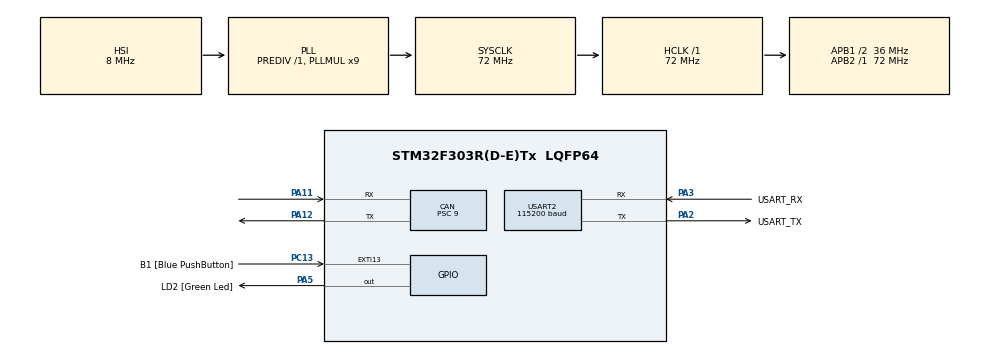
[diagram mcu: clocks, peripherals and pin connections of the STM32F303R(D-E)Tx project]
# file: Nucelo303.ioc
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CAN.BS1=CAN_BS1_13TQ
CAN.BS2=CAN_BS2_2TQ
CAN.CalculateTimeQuantum=250.0
CAN.NART=ENABLE
CAN.Prescaler=9
Mcu.Family=STM32F3
Mcu.Name=STM32F303R(D-E)Tx
Mcu.Package=LQFP64
NVIC.PriorityGroup=NVIC_PRIORITYGROUP_0
PA11.Mode=Master
PA11.Signal=CAN_RX
PA12.Mode=Master
PA12.Signal=CAN_TX
PA13.GPIO_Label=TMS
PA13.Mode=Serial_Wire
PA13.Signal=SYS_JTMS-SWDIO
PA14.GPIO_Label=TCK
PA14.Mode=Serial_Wire
PA14.Signal=SYS_JTCK-SWCLK
PA2.GPIO_Label=USART_TX
PA2.GPIO_Mode=GPIO_MODE_AF_PP
PA2.GPIO_PuPd=GPIO_NOPULL
PA2.GPIO_Speed=GPIO_SPEED_FREQ_LOW
PA2.Mode=Asynchronous
PA2.Signal=USART2_TX
PA3.GPIO_Label=USART_RX
PA3.GPIO_Mode=GPIO_MODE_AF_PP
PA3.GPIO_PuPd=GPIO_NOPULL
PA3.GPIO_Speed=GPIO_SPEED_FREQ_LOW
PA3.Mode=Asynchronous
PA3.Signal=USART2_RX
PA5.GPIO_Label=LD2 [Green Led]
PA5.GPIO_Mode=GPIO_MODE_OUTPUT_PP
PA5.GPIO_PuPd=GPIO_NOPULL
PA5.GPIO_Speed=GPIO_SPEED_FREQ_LOW
PA5.Signal=GPIO_Output
PB3.GPIO_Label=SWO
PB3.Signal=SYS_JTDO-TRACESWO
PC13.GPIO_Label=B1 [Blue PushButton]
PC13.GPIO_ModeDefaultEXTI=GPIO_MODE_IT_FALLING
PC13.Signal=GPXTI13
PC14-OSC32_IN.Mode=LSE-External-Oscillator
PC14-OSC32_IN.Signal=RCC_OSC32_IN
PC15-OSC32_OUT.Mode=LSE-External-Oscillator
PC15-OSC32_OUT.Signal=RCC_OSC32_OUT
PF0-OSC_IN.Mode=HSE-External-Clock-Source
PF0-OSC_IN.Signal=RCC_OSC_IN
PF1-OSC_OUT.Signal=RCC_OSC_OUT
ProjectManager.HeapSize=0x200
ProjectManager.StackSize=0x400
ProjectManager.TargetToolchain=STM32CubeIDE
RCC.AHBFreq_Value=72000000
RCC.APB1CLKDivider=RCC_HCLK_DIV2
RCC.APB1Freq_Value=36000000
RCC.APB1TimFreq_Value=72000000
RCC.APB2Freq_Value=72000000
RCC.APB2TimFreq_Value=72000000
RCC.CortexFreq_Value=72000000
RCC.HCLKFreq_Value=72000000
RCC.HSE_VALUE=8000000
RCC.HSI_VALUE=8000000
RCC.PLLM=8
RCC.PLLMUL=RCC_PLL_MUL9
RCC.PLLN=336
RCC.PLLP=RCC_PLLP_DIV4
RCC.PLLQ=7
RCC.RCC_PLLsource_Clock_Source_FROM_HSE=RCC_HSE_PREDIV_DIV2
RCC.SYSCLKFreq_VALUE=72000000
RCC.SYSCLKSourceVirtual=RCC_SYSCLKSOURCE_PLLCLK
RCC.USBFreq_Value=72000000
USART2.BaudRate=115200
USART2.VirtualMode-Asynchronous=VM_ASYNC
VP_CRC_VS_CRC.Mode=CRC_Activate
board=NUCLEO-F303RE

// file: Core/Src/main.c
/* USER CODE BEGIN Header */
/**
  ******************************************************************************
  * @file           : main.c
  * @brief          : Main program body
  ******************************************************************************
  * @attention
  *
  * <h2><center>&copy; Copyright (c) 2020 STMicroelectronics.
  * All rights reserved.</center></h2>
  *
  * This software component is licensed by ST under BSD 3-Clause license,
  * the "License"; You may not use this file except in compliance with the
  * License. You may obtain a copy of the License at:
  *                        opensource.org/licenses/BSD-3-Clause
  *
  ******************************************************************************
  */

/* USER CODE END Header */

#include "main.h"

/* USER CODE BEGIN Includes */
#include "ymodem.h"
#include <stdarg.h>
#include <string.h>
#include <stdint.h>
/* USER CODE END Includes */

CAN_HandleTypeDef hcan;

CRC_HandleTypeDef hcrc;

UART_HandleTypeDef huart2;

void SystemClock_Config(void);
static void MX_GPIO_Init(void);
static void MX_CRC_Init(void);
static void MX_USART2_UART_Init(void);
static void MX_CAN_Init(void);
/* USER CODE BEGIN PFP */
#define size 200
#define Rxsize 13000
#define BL_ACK   0XA5
#define BL_NACK  0X7F

uint8_t buffer[size];
uint8_t Rx_buffer[Rxsize];

CAN_FilterTypeDef sFilterConfig;
CAN_TxHeaderTypeDef pTxHeader;
CAN_RxHeaderTypeDef pRxHeader;
uint32_t TxMailBox;

uint8_t Txbuffer[8];
uint8_t Rxbuffer[8];
uint8_t aFileName[FILE_NAME_LENGTH] = "hser_app";
//aFileName = "user";
/* USER CODE END PFP */

int main(void)
{

  /* MCU Configuration--------------------------------------------------------*/

  /* Reset of all peripherals, Initializes the Flash interface and the Systick. */
  HAL_Init();

  /* Configure the system clock */
  SystemClock_Config();

  /* Initialize all configured peripherals */
  MX_GPIO_Init();
  MX_CRC_Init();
  MX_USART2_UART_Init();
  MX_CAN_Init();
  /* USER CODE BEGIN 2 */
  pTxHeader.DLC = 8;
  pTxHeader.IDE = CAN_ID_EXT;
  pTxHeader.RTR = CAN_RTR_DATA;
  pTxHeader.StdId = 0xFE;
  pTxHeader.ExtId = 0x01;
  pTxHeader.TransmitGlobalTime = DISABLE;
  Txbuffer[0] = 1;
  Txbuffer[1] = 0x51;

  /* USER CODE END 2 */

  /* Infinite loop */
  /* USER CODE BEGIN WHILE */

  memset(Rx_buffer, 0, Rxsize);
  while (1)
  {
    /* USER CODE END WHILE */

    /* USER CODE BEGIN 3 */

	bootloader_uart_read_data();

  }
  /* USER CODE END 3 */
}

void SystemClock_Config(void)
{
  RCC_OscInitTypeDef RCC_OscInitStruct = {0};
  RCC_ClkInitTypeDef RCC_ClkInitStruct = {0};
  RCC_PeriphCLKInitTypeDef PeriphClkInit = {0};

  /** Initializes the CPU, AHB and APB busses clocks
  */
  RCC_OscInitStruct.OscillatorType = RCC_OSCILLATORTYPE_HSI;
  RCC_OscInitStruct.HSIState = RCC_HSI_ON;
  RCC_OscInitStruct.HSICalibrationValue = RCC_HSICALIBRATION_DEFAULT;
  RCC_OscInitStruct.PLL.PLLState = RCC_PLL_ON;
  RCC_OscInitStruct.PLL.PLLSource = RCC_PLLSOURCE_HSI;
  RCC_OscInitStruct.PLL.PLLMUL = RCC_PLL_MUL9;
  RCC_OscInitStruct.PLL.PREDIV = RCC_PREDIV_DIV1;
  if (HAL_RCC_OscConfig(&RCC_OscInitStruct) != HAL_OK)
  {
    Error_Handler();
  }
  /** Initializes the CPU, AHB and APB busses clocks
  */
  RCC_ClkInitStruct.ClockType = RCC_CLOCKTYPE_HCLK|RCC_CLOCKTYPE_SYSCLK
                              |RCC_CLOCKTYPE_PCLK1|RCC_CLOCKTYPE_PCLK2;
  RCC_ClkInitStruct.SYSCLKSource = RCC_SYSCLKSOURCE_PLLCLK;
  RCC_ClkInitStruct.AHBCLKDivider = RCC_SYSCLK_DIV1;
  RCC_ClkInitStruct.APB1CLKDivider = RCC_HCLK_DIV2;
  RCC_ClkInitStruct.APB2CLKDivider = RCC_HCLK_DIV1;

  if (HAL_RCC_ClockConfig(&RCC_ClkInitStruct, FLASH_LATENCY_2) != HAL_OK)
  {
    Error_Handler();
  }
  PeriphClkInit.PeriphClockSelection = RCC_PERIPHCLK_USART2;
  PeriphClkInit.Usart2ClockSelection = RCC_USART2CLKSOURCE_PCLK1;
  if (HAL_RCCEx_PeriphCLKConfig(&PeriphClkInit) != HAL_OK)
  {
    Error_Handler();
  }
}

static void MX_CAN_Init(void)
{

  hcan.Instance = CAN;
  hcan.Init.Prescaler = 9;
  hcan.Init.Mode = CAN_MODE_NORMAL;
  hcan.Init.SyncJumpWidth = CAN_SJW_1TQ;
  hcan.Init.TimeSeg1 = CAN_BS1_13TQ;
  hcan.Init.TimeSeg2 = CAN_BS2_2TQ;
  hcan.Init.TimeTriggeredMode = DISABLE;
  hcan.Init.AutoBusOff = DISABLE;
  hcan.Init.AutoWakeUp = DISABLE;
  hcan.Init.AutoRetransmission = ENABLE;
  hcan.Init.ReceiveFifoLocked = DISABLE;
  hcan.Init.TransmitFifoPriority = DISABLE;
  if (HAL_CAN_Init(&hcan) != HAL_OK)
  {
    Error_Handler();
  }
  /* USER CODE BEGIN CAN_Init 2 */
    sFilterConfig.FilterBank = 0;
  	sFilterConfig.FilterMode = CAN_FILTERMODE_IDMASK;
  	sFilterConfig.FilterFIFOAssignment = CAN_FILTER_FIFO0;
  	sFilterConfig.FilterIdHigh = 0x0000;
  	sFilterConfig.FilterIdLow = 0x0000;
  	sFilterConfig.FilterMaskIdHigh = 0;
  	sFilterConfig.FilterMaskIdLow = 0;
  	sFilterConfig.FilterScale = CAN_FILTERSCALE_32BIT;
  	sFilterConfig.FilterActivation = ENABLE;
  	sFilterConfig.SlaveStartFilterBank = 14;

  	if(HAL_CAN_ConfigFilter(&hcan, &sFilterConfig) != HAL_OK)
  	{
  		Error_Handler();
  	}

  	if (HAL_CAN_Start(&hcan) != HAL_OK)
		Error_Handler();

	if (HAL_CAN_ActivateNotification(&hcan, CAN_IT_RX_FIFO0_MSG_PENDING  | CAN_IT_TX_MAILBOX_EMPTY) != HAL_OK)
  {
  		    /* Notification Error */
		Error_Handler();
  }
  /* USER CODE END CAN_Init 2 */

}

static void MX_CRC_Init(void)
{

  hcrc.Instance = CRC;
  hcrc.Init.DefaultPolynomialUse = DEFAULT_POLYNOMIAL_ENABLE;
  hcrc.Init.DefaultInitValueUse = DEFAULT_INIT_VALUE_ENABLE;
  hcrc.Init.InputDataInversionMode = CRC_INPUTDATA_INVERSION_NONE;
  hcrc.Init.OutputDataInversionMode = CRC_OUTPUTDATA_INVERSION_DISABLE;
  hcrc.InputDataFormat = CRC_INPUTDATA_FORMAT_BYTES;
  if (HAL_CRC_Init(&hcrc) != HAL_OK)
  {
    Error_Handler();
  }

}

static void MX_USART2_UART_Init(void)
{

  huart2.Instance = USART2;
  huart2.Init.BaudRate = 115200;
  huart2.Init.WordLength = UART_WORDLENGTH_8B;
  huart2.Init.StopBits = UART_STOPBITS_1;
  huart2.Init.Parity = UART_PARITY_NONE;
  huart2.Init.Mode = UART_MODE_TX_RX;
  huart2.Init.HwFlowCtl = UART_HWCONTROL_NONE;
  huart2.Init.OverSampling = UART_OVERSAMPLING_16;
  huart2.Init.OneBitSampling = UART_ONE_BIT_SAMPLE_DISABLE;
  huart2.AdvancedInit.AdvFeatureInit = UART_ADVFEATURE_NO_INIT;
  if (HAL_UART_Init(&huart2) != HAL_OK)
  {
    Error_Handler();
  }

}

static void MX_GPIO_Init(void)
{
  GPIO_InitTypeDef GPIO_InitStruct = {0};

  /* GPIO Ports Clock Enable */
  __HAL_RCC_GPIOC_CLK_ENABLE();
  __HAL_RCC_GPIOF_CLK_ENABLE();
  __HAL_RCC_GPIOA_CLK_ENABLE();
  __HAL_RCC_GPIOB_CLK_ENABLE();

  /*Configure GPIO pin Output Level */
  HAL_GPIO_WritePin(LD2_GPIO_Port, LD2_Pin, GPIO_PIN_RESET);

  /*Configure GPIO pin : B1_Pin */
  GPIO_InitStruct.Pin = B1_Pin;
  GPIO_InitStruct.Mode = GPIO_MODE_IT_FALLING;
  GPIO_InitStruct.Pull = GPIO_NOPULL;
  HAL_GPIO_Init(B1_GPIO_Port, &GPIO_InitStruct);

  /*Configure GPIO pin : LD2_Pin */
  GPIO_InitStruct.Pin = LD2_Pin;
  GPIO_InitStruct.Mode = GPIO_MODE_OUTPUT_PP;
  GPIO_InitStruct.Pull = GPIO_NOPULL;
  GPIO_InitStruct.Speed = GPIO_SPEED_FREQ_LOW;
  HAL_GPIO_Init(LD2_GPIO_Port, &GPIO_InitStruct);

}

/* USER CODE BEGIN 4 */
void bootloader_uart_read_data(void){
uint8_t rx_len = 0;
uint16_t temp = 0;
while (1){
	memset(buffer, 0 ,200);

	if (HAL_UART_Receive(&huart2, buffer, 1, 0x200) == HAL_OK)
		rx_len = buffer[0];
	if (HAL_UART_Receive(&huart2, buffer, rx_len, 0x200)== HAL_OK){
		memcpy(Rx_buffer + temp, buffer + 2, (rx_len - 6) * sizeof(uint8_t));
		temp += rx_len - 6;
	}
	switch (buffer[0]){
	case 0x50:
		handle_Get_Version(buffer, rx_len);
		break;
	case 0x51:
		handle_writing(buffer, rx_len);
		break;
	case 0x52:
		handle_start_download(buffer, rx_len);
	case 0x53:
		handle_exit_bootloader(buffer, rx_len);
	default:
		break;

	}

}
}
void handle_start_download(uint8_t *buffer, uint8_t rx_len){
	pTxHeader.ExtId = can_generate_header(0xFE,0x16,0x10,0x01);
	pTxHeader.IDE = CAN_ID_EXT;

	Txbuffer[1] = *(buffer + 1);
	Txbuffer[2] = *(buffer + 2);
	uint16_t NewFirmwareSize = *(Txbuffer+1);
	NewFirmwareSize <<= 8;
	NewFirmwareSize |= *(Txbuffer+2);

	pTxHeader.DLC= 2;
	HAL_CAN_AddTxMessage(&hcan, &pTxHeader, Txbuffer, &TxMailBox);
	pTxHeader.ExtId = can_generate_header(0xFE,0x16,0x10,2);
	pTxHeader.IDE = CAN_ID_EXT;
	pTxHeader.DLC= 1;

	HAL_CAN_AddTxMessage(&hcan, &pTxHeader, Txbuffer, &TxMailBox);
	COM_StatusTypeDef status;
	status = Ymodem_Transmit(&Rx_buffer[0], aFileName, NewFirmwareSize);

}
void handle_Get_Version(uint8_t *buffer, uint8_t rx_len){

	pTxHeader.ExtId = can_generate_header(0xFE,0x16,0x10,0x03);
	pTxHeader.IDE = CAN_ID_EXT;

	pTxHeader.DLC= sizeof(Txbuffer);
    HAL_CAN_AddTxMessage(&hcan, &pTxHeader, Txbuffer, &TxMailBox);

}
void handle_writing(uint8_t * buffer, uint8_t rx_len){
  uint8_t len = rx_len;

  uint32_t total_length = len ;

  uint32_t host_crc = *((uint32_t *) (buffer + total_length - 4));

  if (! bootloader_verify_crc(buffer, total_length - 4, host_crc, rx_len)){
	  bootloader_send_ack(buffer[1], 1);

  }
  else {
	  bootloader_send_nack();
  }
  }

void handle_exit_bootloader(uint8_t *buffer, uint8_t rx_len){

	pTxHeader.ExtId = can_generate_header(0xFE,0x16,0x10,0x06);
	pTxHeader.IDE = CAN_ID_EXT;

	pTxHeader.DLC= sizeof(Txbuffer);
    HAL_CAN_AddTxMessage(&hcan, &pTxHeader, Txbuffer, &TxMailBox);

}
void bootloader_send_ack(uint8_t command_code, uint8_t follow_len)
{
 //here we send 2 byte.. first byte is ack and the second byte is len value
uint8_t ack_buf[2];
ack_buf[0] = BL_ACK;
ack_buf[1] = follow_len;
HAL_UART_Transmit(&huart2, ack_buf, 2, 0x2);

}

/*This function sends NACK */
void bootloader_send_nack(void)
{
uint8_t nack = BL_NACK;
HAL_UART_Transmit(&huart2, &nack, 1, 0x2);
}

//This verifies the CRC of the given buffer in pData .
uint8_t bootloader_verify_crc (uint8_t *pData, uint32_t len, uint32_t crc_host, uint8_t rx_len)
{
  uint32_t uwCRCValue;
  CRC->CR |= CRC_CR_RESET;
  CRC->DR = rx_len;

  for (uint32_t i=0 ; i < len ; i++)
{
	  CRC->DR = pData[i];
}
  uwCRCValue = CRC->DR;
 /* Reset CRC Calculation Unit */
//__HAL_CRC_DR_RESET(&hcrc);

if( uwCRCValue == crc_host)
{
	return VERIFY_CRC_SUCCESS;
}

return VERIFY_CRC_FAIL;
}

//void HAL_CAN_RxFifo0MsgPendingCallback(CAN_HandleTypeDef *hcan)
//{
//  /* Get RX message */
//  HAL_CAN_GetRxMessage(hcan, CAN_RX_FIFO0, &pRxHeader, Rxbuffer);
//  if(Rxbuffer[0] == 0x12)
//  	  HAL_GPIO_TogglePin(GPIOA, GPIO_PIN_5);
//      //uint8_t  buffer1[] = "Fun";
//      //uint8_t ack = 12;
//      //HAL_UART_Transmit(&huart2, &ack, sizeof(ack), 0x2);
//
//}

uint32_t can_generate_header(uint8_t device_ID,uint8_t sensor_ID, uint8_t reply_info_type,uint8_t message_type){
	uint32_t tmp,res;
	tmp=0;
	res=0;
	tmp=device_ID;
	tmp<<=16;
	res|=tmp;
	tmp=0;

	tmp=sensor_ID;
	tmp<<=24;
	res|=tmp;
	tmp=0;

	tmp=reply_info_type;
	res|=tmp;
	tmp=0;

	tmp=message_type;
	tmp<<=8;
	res|=tmp;
	tmp=0;

	return res;
}
//void HAL_CAN_RxFifo0MsgPendingCallback(CAN_HandleTypeDef *hcan)
//{
//  /* Get RX message */
//  HAL_CAN_GetRxMessage(hcan, CAN_RX_FIFO0, &pRxHeader, Rxbuffer);
//  if(Rxbuffer[0] == 0x12)
//  	  HAL_GPIO_TogglePin(GPIOA, GPIO_PIN_5);
//      //uint8_t  buffer1[] = "Fun";
//      //uint8_t ack = 12;
//      //HAL_UART_Transmit(&huart2, &ack, sizeof(ack), 0x2);
//
//}
//void HAL_CAN_TxMailbox0CompleteCallback(CAN_HandleTypeDef *hcan)
//{
//	HAL_GPIO_TogglePin(GPIOA, GPIO_PIN_5);
//}
//void HAL_CAN_TxMailbox1CompleteCallback(CAN_HandleTypeDef *hcan)
//{
//	HAL_GPIO_TogglePin(GPIOA, GPIO_PIN_5);
//}
//void HAL_CAN_TxMailbox2CompleteCallback(CAN_HandleTypeDef *hcan)
//{
//	HAL_GPIO_TogglePin(GPIOA, GPIO_PIN_5);
//}
/* USER CODE END 4 */

void Error_Handler(void)
{
}

/************************ (C) COPYRIGHT STMicroelectronics *****END OF FILE****/
